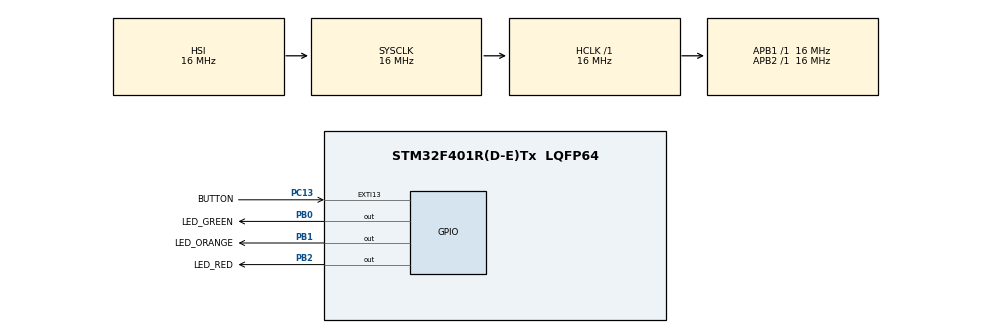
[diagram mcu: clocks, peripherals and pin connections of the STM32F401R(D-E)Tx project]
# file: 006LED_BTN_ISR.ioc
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FREERTOS.Tasks01=defaultTask,24,128,StartDefaultTask,Default,NULL,Dynamic,NULL,NULL
Mcu.Family=STM32F4
Mcu.Name=STM32F401R(D-E)Tx
Mcu.Package=LQFP64
NVIC.EXTI15_10_IRQn=true\:6\:0\:true\:false\:true\:false\:true\:true\:true
NVIC.PriorityGroup=NVIC_PRIORITYGROUP_4
NVIC.TIM5_IRQn=true\:15\:0\:false\:false\:true\:false\:false\:true\:true
NVIC.TimeBase=TIM5_IRQn
NVIC.TimeBaseIP=TIM5
PB0.GPIO_Label=LED_GREEN
PB0.Signal=GPIO_Output
PB1.GPIO_Label=LED_ORANGE
PB1.Signal=GPIO_Output
PB2.GPIO_Label=LED_RED
PB2.Signal=GPIO_Output
PC13-ANTI_TAMP.GPIO_Label=BUTTON 
PC13-ANTI_TAMP.GPIO_ModeDefaultEXTI=GPIO_MODE_IT_FALLING
PC13-ANTI_TAMP.GPIO_PuPd=GPIO_PULLUP
PC13-ANTI_TAMP.Signal=GPXTI13
ProjectManager.HeapSize=0x200
ProjectManager.StackSize=0x400
ProjectManager.TargetToolchain=STM32CubeIDE
RCC.AHBFreq_Value=16000000
RCC.APB1Freq_Value=16000000
RCC.APB2Freq_Value=16000000
RCC.CortexFreq_Value=16000000
RCC.HSE_VALUE=25000000
RCC.HSI_VALUE=16000000
RCC.LSE_VALUE=32768
RCC.SYSCLKFreq_VALUE=16000000
RCC.VCOOutputFreq_Value=192000000
VP_FREERTOS_VS_CMSIS_V2.Mode=CMSIS_V2
VP_SYS_VS_tim5.Mode=TIM5
board=custom

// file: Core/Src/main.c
/* USER CODE BEGIN Header */

/**
  ******************************************************************************
  * @file           : main.c
  * @brief          : Main program body
  ******************************************************************************
  * @attention
  *
  * Copyright (c) 2026 STMicroelectronics.
  * All rights reserved.
  *
  ******************************************************************************
  */

/* USER CODE END Header */
#include "main.h"
#include "cmsis_os.h"

/* USER CODE BEGIN Includes */

#include <stdio.h>

#include "FreeRTOS.h"

#include "task.h"

#include "SEGGER_SYSVIEW.h"

#include <string.h>

/* USER CODE END Includes */

/* Definitions for defaultTask */
osThreadId_t defaultTaskHandle;
const osThreadAttr_t defaultTask_attributes = {
  .name = "defaultTask",
  .stack_size = 128 * 4,
  .priority = (osPriority_t) osPriorityNormal,
};
/* USER CODE BEGIN PV */

#define DEMCR      (*(volatile uint32_t*)0xE000EDFC)

#define DWT_CTRL   (*(volatile uint32_t*)0xE0001000)

#define DWT_CYCCNT (*(volatile uint32_t*)0xE0001004)

TaskHandle_t task1_handle = NULL;
TaskHandle_t task2_handle = NULL;
TaskHandle_t task3_handle = NULL;
TaskHandle_t next_task_handle = NULL;
BaseType_t Status;

/* USER CODE END PV */

void SystemClock_Config(void);
static void MX_GPIO_Init(void);
void StartDefaultTask(void *argument);

/* USER CODE BEGIN PFP */

static void led_green_handler(void *parameters);
static void led_orange_handler(void *parameters);
static void led_red_handler(void *parameters);

extern void SEGGER_UART_init(uint32_t);
/* USER CODE END PFP */

int main(void)
{

  /* MCU Configuration--------------------------------------------------------*/

  /* Reset of all peripherals, Initializes the Flash interface and the Systick. */
  HAL_Init();

  /* Configure the system clock */
  SystemClock_Config();

  /* Initialize all configured peripherals */
  MX_GPIO_Init();
  /* USER CODE BEGIN 2 */

  DEMCR |= (1 << 24);
  DWT_CYCCNT = 0;
  DWT_CTRL |= (1 << 0);

  SEGGER_SYSVIEW_Conf();
  SEGGER_SYSVIEW_Start();

  Status = xTaskCreate(led_green_handler,
                       "Led_green_task",
                       200,
                       NULL,
                       3,
                       &task1_handle);
  configASSERT(Status == pdPASS);

  next_task_handle = task1_handle;

  Status = xTaskCreate(led_orange_handler,
                       "Led_orange_task",
                       200,
                       NULL,
                       2,
                       &task2_handle);
  configASSERT(Status == pdPASS);

  Status = xTaskCreate(led_red_handler,
                       "Led_red_task",
                       200,
                       NULL,
                       1,
                       &task3_handle);
  configASSERT(Status == pdPASS);

  /* Start FreeRTOS scheduler */
  vTaskStartScheduler();

  /* USER CODE END 2 */

  /* Init scheduler */
  //osKernelInitialize();

  /* Create the thread(s) */
  /* creation of defaultTask */
  //defaultTaskHandle = osThreadNew(StartDefaultTask, NULL, &defaultTask_attributes);

  /* Start scheduler */
  //osKernelStart();

  /* We should never get here as control is now taken by the scheduler */

  /* Infinite loop */
  /* USER CODE BEGIN WHILE */

  //while (1)

  {

    /* USER CODE END WHILE */

  }
}

void SystemClock_Config(void)
{
  RCC_OscInitTypeDef RCC_OscInitStruct = {0};
  RCC_ClkInitTypeDef RCC_ClkInitStruct = {0};

  /** Configure the main internal regulator output voltage
  */
  __HAL_RCC_PWR_CLK_ENABLE();
  __HAL_PWR_VOLTAGESCALING_CONFIG(PWR_REGULATOR_VOLTAGE_SCALE2);

  /** Initializes the RCC Oscillators according to the specified parameters
  * in the RCC_OscInitTypeDef structure.
  */
  RCC_OscInitStruct.OscillatorType = RCC_OSCILLATORTYPE_HSI;
  RCC_OscInitStruct.HSIState = RCC_HSI_ON;
  RCC_OscInitStruct.HSICalibrationValue = RCC_HSICALIBRATION_DEFAULT;
  RCC_OscInitStruct.PLL.PLLState = RCC_PLL_NONE;
  if (HAL_RCC_OscConfig(&RCC_OscInitStruct) != HAL_OK)
  {
    Error_Handler();
  }

  /** Initializes the CPU, AHB and APB buses clocks
  */
  RCC_ClkInitStruct.ClockType = RCC_CLOCKTYPE_HCLK|RCC_CLOCKTYPE_SYSCLK
                              |RCC_CLOCKTYPE_PCLK1|RCC_CLOCKTYPE_PCLK2;
  RCC_ClkInitStruct.SYSCLKSource = RCC_SYSCLKSOURCE_HSI;
  RCC_ClkInitStruct.AHBCLKDivider = RCC_SYSCLK_DIV1;
  RCC_ClkInitStruct.APB1CLKDivider = RCC_HCLK_DIV1;
  RCC_ClkInitStruct.APB2CLKDivider = RCC_HCLK_DIV1;

  if (HAL_RCC_ClockConfig(&RCC_ClkInitStruct, FLASH_LATENCY_0) != HAL_OK)
  {
    Error_Handler();
  }
}

static void MX_GPIO_Init(void)
{
  GPIO_InitTypeDef GPIO_InitStruct = {0};

  /* GPIO Ports Clock Enable */
  __HAL_RCC_GPIOC_CLK_ENABLE();
  __HAL_RCC_GPIOB_CLK_ENABLE();

  /*Configure GPIO pin Output Level */
  HAL_GPIO_WritePin(GPIOB, LED_GREEN_Pin|LED_ORANGE_Pin|LED_RED_Pin, GPIO_PIN_RESET);

  /*Configure GPIO pin : BUTTON_Pin */
  GPIO_InitStruct.Pin = BUTTON_Pin;
  GPIO_InitStruct.Mode = GPIO_MODE_IT_FALLING;
  GPIO_InitStruct.Pull = GPIO_PULLUP;
  HAL_GPIO_Init(BUTTON_GPIO_Port, &GPIO_InitStruct);

  /*Configure GPIO pins : LED_GREEN_Pin LED_ORANGE_Pin LED_RED_Pin */
  GPIO_InitStruct.Pin = LED_GREEN_Pin|LED_ORANGE_Pin|LED_RED_Pin;
  GPIO_InitStruct.Mode = GPIO_MODE_OUTPUT_PP;
  GPIO_InitStruct.Pull = GPIO_NOPULL;
  GPIO_InitStruct.Speed = GPIO_SPEED_FREQ_LOW;
  HAL_GPIO_Init(GPIOB, &GPIO_InitStruct);

  /* EXTI interrupt init*/
  HAL_NVIC_SetPriority(EXTI15_10_IRQn, 6, 0);
  HAL_NVIC_EnableIRQ(EXTI15_10_IRQn);

}

/* USER CODE BEGIN 4 */

void button_interrupt_handler(void)
{
    BaseType_t xHigherPriorityTaskWoken = pdFALSE;

    SEGGER_SYSVIEW_RecordEnterISR();

    if (next_task_handle != NULL)
    {
        xTaskNotifyFromISR(
            next_task_handle,
            0,
            eNoAction,
            &xHigherPriorityTaskWoken
        );
    }

    portYIELD_FROM_ISR(xHigherPriorityTaskWoken);

    SEGGER_SYSVIEW_RecordExitISR();
}

void HAL_GPIO_EXTI_Callback(uint16_t GPIO_Pin)
{
    if (GPIO_Pin == BUTTON_Pin)
    {
        button_interrupt_handler();
    }
}

static void led_green_handler(void *parameters)

{

	BaseType_t status;

    while(1)

    {

    	SEGGER_SYSVIEW_PrintfTarget("Toggling green LED");

        HAL_GPIO_TogglePin(GPIOB, LED_GREEN_Pin);

        status = xTaskNotifyWait(0,0,NULL,pdMS_TO_TICKS(1000));

        if(status == pdTRUE){
            portENTER_CRITICAL();
        	next_task_handle = task2_handle;
        	HAL_GPIO_WritePin(GPIOB,LED_GREEN_Pin,GPIO_PIN_SET);

        	SEGGER_SYSVIEW_PrintfTarget("Delete green LED task");
        	 portEXIT_CRITICAL();
        	vTaskDelete(NULL);

        }

    }

}

static void led_orange_handler(void *parameters)

{

	BaseType_t status;

    while(1)

    {

    	SEGGER_SYSVIEW_PrintfTarget("Toggling Orange LED");

        HAL_GPIO_TogglePin(GPIOB, LED_ORANGE_Pin);

        status = xTaskNotifyWait(0,0,NULL,pdMS_TO_TICKS(800));

        if(status == pdTRUE){

        	 portENTER_CRITICAL();

        	next_task_handle = task3_handle;

        	HAL_GPIO_WritePin(GPIOB,LED_ORANGE_Pin,GPIO_PIN_SET);

        	SEGGER_SYSVIEW_PrintfTarget("Delete orange LED task");
        	 portEXIT_CRITICAL();
        	vTaskDelete(NULL);

        }

    }

}

static void led_red_handler(void *parameters)

{

	BaseType_t status;

    while(1)

    {

    	SEGGER_SYSVIEW_PrintfTarget("Toggling red LED");

        HAL_GPIO_TogglePin(GPIOB, LED_RED_Pin);

        status = xTaskNotifyWait(0,0,NULL,pdMS_TO_TICKS(400));

        if(status == pdTRUE){
        	portENTER_CRITICAL();
        	next_task_handle = NULL;
        	HAL_GPIO_WritePin(GPIOB,LED_RED_Pin,GPIO_PIN_SET);

        	SEGGER_SYSVIEW_PrintfTarget("Delete red LED task");
        	 portEXIT_CRITICAL();
        	vTaskDelete(NULL);

        }

    }

}

/* USER CODE END 4 */

void StartDefaultTask(void *argument)
{
  for(;;)
  {
    osDelay(1);
  }
}

void HAL_TIM_PeriodElapsedCallback(TIM_HandleTypeDef *htim)
{
  if (htim->Instance == TIM5)
  {
    HAL_IncTick();
  }
}

void Error_Handler(void)
{
  __disable_irq();
  while (1)
  {
  }
}
#ifdef USE_FULL_ASSERT
/**
  * @brief  Reports the name of the source file and the source line number
  *         where the assert_param error has occurred.
  * @param  file: pointer to the source file name
  * @param  line: assert_param error line source number
  * @retval None
  */
void assert_failed(uint8_t *file, uint32_t line)
{
  /* USER CODE BEGIN 6 */

  /* User can add implementation to report the file name and line number,
     ex: printf("Wrong parameters value: file %s on line %d\r\n", file, line) */

  /* USER CODE END 6 */
}
#endif /* USE_FULL_ASSERT */
